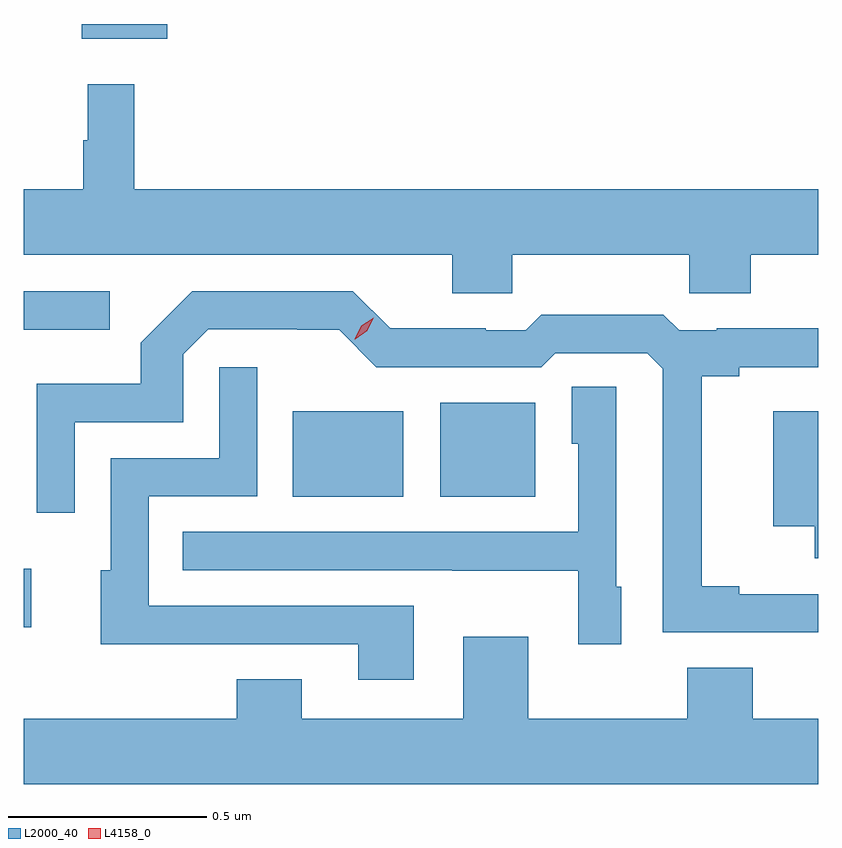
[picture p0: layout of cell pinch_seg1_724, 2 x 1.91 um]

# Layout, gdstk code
import gdstk
lib = gdstk.Library(unit=1e-6, precision=1e-09)
def R(c, l, rs):  # rectangles x0, y0, x1, y1
    for r in rs: c.add(gdstk.rectangle(r[:2], r[2:], *l))
def P(c, l, *ps):  # polygons
    for p in ps: c.add(gdstk.Polygon(p, *l))
L2000_40 = (2000, 40)
L4158_0 = (4158, 0)

pinch_seg1_724 = lib.new_cell('pinch_seg1_724')
R(pinch_seg1_724, L2000_40, [(688.827,572.106,688.846,572.254), (689.504,572.435,689.782,572.65), (689.876,572.435,690.115,572.671), (688.827,572.855,689.044,572.952), (688.973,573.587,689.188,573.624)])
P(pinch_seg1_724, L2000_40, [(690.057,573.044),(690.502,573.044),(690.502,572.946),(690.657,572.946),(690.657,573.044),(690.827,573.044),(690.827,573.208),(689.105,573.208),(689.105,573.472),(688.988,573.472),(688.988,573.332),(688.977,573.332),(688.977,573.208),(688.827,573.208),(688.827,573.044),(689.906,573.044),(689.906,572.946),(690.057,572.946)],
  [(690.827,572.19),(690.628,572.19),(690.628,572.21),(690.533,572.21),(690.533,572.738),(690.628,572.738),(690.628,572.76),(690.827,572.76),(690.827,572.858),(690.571,572.858),(690.571,572.853),(690.477,572.853),(690.437,572.893),(690.13,572.893),(690.09,572.853),(689.99,572.853),(689.99,572.858),(689.75,572.858),(689.655,572.952),(689.252,572.952),(689.122,572.822),(689.122,572.719),(688.86,572.719),(688.86,572.394),(688.956,572.394),(688.956,572.622),(689.229,572.622),(689.229,572.793),(689.292,572.856),(689.516,572.856),(689.516,572.855),(689.621,572.855),(689.715,572.76),(690.129,572.76),(690.165,572.796),(690.396,572.796),(690.435,572.757),(690.435,572.094),(690.827,572.094)],
  [(689.809,572.16),(689.142,572.16),(689.142,572.436),(689.415,572.436),(689.415,572.761),(689.319,572.761),(689.319,572.532),(689.046,572.532),(689.046,572.25),(689.021,572.25),(689.021,572.063),(689.239,572.063),(689.239,572.064),(689.669,572.064),(689.669,571.974),(689.809,571.974)],
  [(690.331,572.208),(690.318,572.208),(690.318,572.711),(690.206,572.711),(690.206,572.568),(690.222,572.568),(690.222,572.346),(689.227,572.346),(689.227,572.25),(689.905,572.25),(689.905,572.249),(690.222,572.249),(690.222,572.064),(690.331,572.064)],
  [(690.827,572.65),(690.713,572.65),(690.713,572.36),(690.818,572.36),(690.818,572.28),(690.827,572.28)],
  [(690.827,571.876),(690.661,571.876),(690.661,572.005),(690.497,572.005),(690.497,571.876),(690.097,571.876),(690.097,572.083),(689.933,572.083),(689.933,571.876),(689.527,571.876),(689.527,571.975),(689.363,571.975),(689.363,571.876),(688.827,571.876),(688.827,571.712),(690.827,571.712)])
P(pinch_seg1_724, L4158_0, [(689.66,572.831),(689.66,572.831),(689.677,572.865),(689.708,572.885),(689.708,572.885),(689.708,572.885),(689.692,572.852),(689.661,572.831)])

lib.write_gds('pinch_seg1_724.gds')
